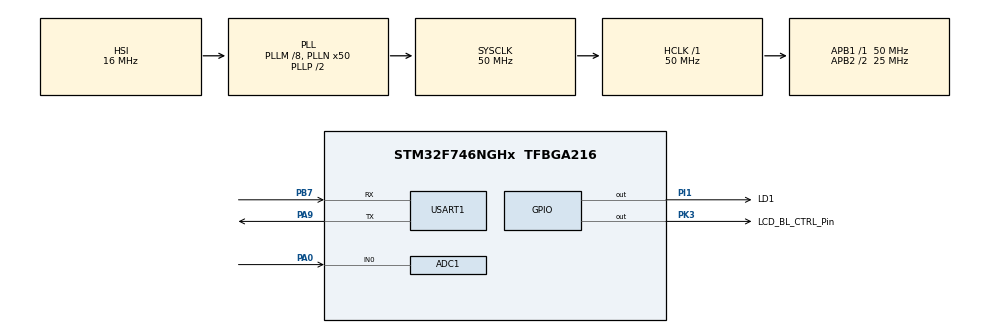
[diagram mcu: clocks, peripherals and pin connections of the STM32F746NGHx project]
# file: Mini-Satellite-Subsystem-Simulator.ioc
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ADC1.Channel-0\#ChannelRegularConversion=ADC_CHANNEL_0
ADC1.ClockPrescaler=ADC_CLOCK_SYNC_PCLK_DIV8
ADC1.NbrOfConversionFlag=1
ADC1.Rank-0\#ChannelRegularConversion=1
ADC1.SamplingTime-0\#ChannelRegularConversion=ADC_SAMPLETIME_15CYCLES
ADC1.master=1
Dma.ADC1.0.Direction=DMA_PERIPH_TO_MEMORY
Dma.ADC1.0.FIFOMode=DMA_FIFOMODE_DISABLE
Dma.ADC1.0.Instance=DMA2_Stream0
Dma.ADC1.0.MemDataAlignment=DMA_MDATAALIGN_HALFWORD
Dma.ADC1.0.MemInc=DMA_MINC_ENABLE
Dma.ADC1.0.Mode=DMA_CIRCULAR
Dma.ADC1.0.PeriphDataAlignment=DMA_PDATAALIGN_HALFWORD
Dma.ADC1.0.PeriphInc=DMA_PINC_DISABLE
Dma.ADC1.0.Priority=DMA_PRIORITY_LOW
Dma.Request0=ADC1
FREERTOS.BinarySemaphores01=adcSem,Dynamic,NULL,Available
FREERTOS.Tasks01=healthCheckTask,24,128,StartHealthCheckTask,Default,NULL,Dynamic,NULL,NULL;telemetryTask,24,128,StartTelemetryTask,Default,NULL,Dynamic,NULL,NULL;LinkMonitorTask,32,128,StartLinkMonitorTask,Default,NULL,Dynamic,NULL,NULL;sensorTask,32,128,StartSensorTask,Default,NULL,Dynamic,NULL,NULL
FREERTOS.configUSE_NEWLIB_REENTRANT=1
Mcu.Family=STM32F7
Mcu.Name=STM32F746NGHx
Mcu.Package=TFBGA216
NVIC.DMA2_Stream0_IRQn=true\:5\:0\:false\:false\:true\:true\:false\:true\:true
NVIC.PriorityGroup=NVIC_PRIORITYGROUP_4
NVIC.TIM6_DAC_IRQn=true\:15\:0\:false\:false\:true\:false\:false\:true\:true
NVIC.TimeBase=TIM6_DAC_IRQn
NVIC.TimeBaseIP=TIM6
NVIC.USART1_IRQn=true\:5\:0\:false\:false\:true\:true\:true\:true\:true
PA0/WKUP.Signal=ADCx_IN0
PA13.Mode=Serial_Wire
PA13.Signal=SYS_JTMS-SWDIO
PA14.Mode=Serial_Wire
PA14.Signal=SYS_JTCK-SWCLK
PA9.Mode=Asynchronous
PA9.Signal=USART1_TX
PB7.Mode=Asynchronous
PB7.Signal=USART1_RX
PI1.GPIO_Label=LD1
PI1.Signal=GPIO_Output
PK3.GPIO_Label=LCD_BL_CTRL_Pin
PK3.Signal=GPIO_Output
ProjectManager.HeapSize=0x200
ProjectManager.StackSize=0x400
ProjectManager.TargetToolchain=STM32CubeIDE
RCC.AHBFreq_Value=50000000
RCC.APB1Freq_Value=50000000
RCC.APB1TimFreq_Value=50000000
RCC.APB2CLKDivider=RCC_HCLK_DIV2
RCC.APB2Freq_Value=25000000
RCC.APB2TimFreq_Value=50000000
RCC.CortexFreq_Value=50000000
RCC.HCLKFreq_Value=50000000
RCC.HSE_VALUE=25000000
RCC.HSI_VALUE=16000000
RCC.LSE_VALUE=32768
RCC.PLLM=8
RCC.PLLN=50
RCC.PLLQ=3
RCC.PLLSourceVirtual=RCC_PLLSOURCE_HSI
RCC.SYSCLKFreq_VALUE=50000000
RCC.SYSCLKSource=RCC_SYSCLKSOURCE_PLLCLK
RCC.USBFreq_Value=33333333.333333332
RCC.VCOOutputFreq_Value=100000000
SH.ADCx_IN0.0=ADC1_IN0,IN0
USART1.VirtualMode-Asynchronous=VM_ASYNC
VP_FREERTOS_VS_CMSIS_V2.Mode=CMSIS_V2
VP_RNG_VS_RNG.Mode=RNG_Activate
VP_SYS_VS_tim6.Mode=TIM6
board=STM32F746G-DISCO

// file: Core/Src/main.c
/* USER CODE BEGIN Header */
/**
  ******************************************************************************
  * @file           : main.c
  * @brief          : Main program body
  ******************************************************************************
  * @attention
  *
  * Copyright (c) 2025 STMicroelectronics.
  * All rights reserved.
  *
  * This software is licensed under terms that can be found in the LICENSE file
  * in the root directory of this software component.
  * If no LICENSE file comes with this software, it is provided AS-IS.
  *
  ******************************************************************************
  */
/* USER CODE END Header */
#include "main.h"
#include "cmsis_os.h"

/* USER CODE BEGIN Includes */
#include <stdio.h>		// For sprintf message to be sent by USART1.
#include <string.h>		// For strlen, used in sending message by UART1.
#include <stdlib.h>
#include <time.h>	// For random number generator (RNG), to simulate Sensor data.
/* USER CODE END Includes */

ADC_HandleTypeDef hadc1;
DMA_HandleTypeDef hdma_adc1;

RNG_HandleTypeDef hrng;

UART_HandleTypeDef huart1;

/* Definitions for healthCheckTask */
osThreadId_t healthCheckTaskHandle;
const osThreadAttr_t healthCheckTask_attributes = {
  .name = "healthCheckTask",
  .stack_size = 128 * 4,
  .priority = (osPriority_t) osPriorityNormal,
};
/* Definitions for telemetryTask */
osThreadId_t telemetryTaskHandle;
const osThreadAttr_t telemetryTask_attributes = {
  .name = "telemetryTask",
  .stack_size = 128 * 4,
  .priority = (osPriority_t) osPriorityNormal,
};
/* Definitions for LinkMonitorTask */
osThreadId_t LinkMonitorTaskHandle;
const osThreadAttr_t LinkMonitorTask_attributes = {
  .name = "LinkMonitorTask",
  .stack_size = 128 * 4,
  .priority = (osPriority_t) osPriorityAboveNormal,
};
/* Definitions for sensorTask */
osThreadId_t sensorTaskHandle;
const osThreadAttr_t sensorTask_attributes = {
  .name = "sensorTask",
  .stack_size = 128 * 4,
  .priority = (osPriority_t) osPriorityAboveNormal,
};
/* Definitions for adcSem */
osSemaphoreId_t adcSemHandle;
const osSemaphoreAttr_t adcSem_attributes = {
  .name = "adcSem"
};
/* USER CODE BEGIN PV */

// Variables needed to receive messages from the USART1.
#define RX_BUFFER_SIZE 32
uint8_t rx_byte;
char command_buffer[RX_BUFFER_SIZE];
uint8_t cmd_index = 0;
// Variables related to the log.
#define LOG_BUFFER_SIZE 1024
char log_buffer[LOG_BUFFER_SIZE];
size_t log_index = 0;				//size_t is defined as uint32_t on STM32.
//Random Number Generator:
extern RNG_HandleTypeDef hrng;
// Link Strength Status
uint8_t rssi = 0;			//Strength of the satellite Uplink/Downlink in 0-100%. (Received Signal Strength Indicator)
/* Buffer to store ADC values */
uint16_t adc_value;
char uart_buffer[20];
/* USER CODE END PV */

void SystemClock_Config(void);
static void MX_GPIO_Init(void);
static void MX_DMA_Init(void);
static void MX_ADC1_Init(void);
static void MX_USART1_UART_Init(void);
static void MX_RNG_Init(void);
void StartHealthCheckTask(void *argument);
void StartTelemetryTask(void *argument);
void StartLinkMonitorTask(void *argument);
void StartSensorTask(void *argument);

/* USER CODE BEGIN PFP */
//void ReadSensor();
void TelemetryToGCS();
void log_message(const char* msg);
/* USER CODE END PFP */

int main(void)
{

  /* MCU Configuration--------------------------------------------------------*/

  /* Reset of all peripherals, Initializes the Flash interface and the Systick. */
  HAL_Init();

  /* Configure the system clock */
  SystemClock_Config();

  /* Initialize all configured peripherals */
  MX_GPIO_Init();
  MX_DMA_Init();
  MX_ADC1_Init();
  MX_USART1_UART_Init();
  MX_RNG_Init();
  /* USER CODE BEGIN 2 */
  HAL_UART_Receive_IT(&huart1, &rx_byte, 1);	// Call the callback func "HAL_UART_RxCpltCallback" when a message is received over USART1. This must be reset after message reception, if another message will be received.

  //Log message to indicate that satellite subsystem is ready.
  log_message("Device Ready.");
  /* Start ADC with DMA */
  HAL_ADC_Start_DMA(&hadc1, (uint32_t*)&adc_value, 1);
  // Send a welcome message to the GCS console.
  char welcomeMessage1[] = "\r\n--- Welcome to the Ground Control Station ---\r\n";
  HAL_UART_Transmit(&huart1, (uint8_t *)welcomeMessage1, strlen(welcomeMessage1), HAL_MAX_DELAY);
  char welcomeMessage2[] = "LED ON - LED OFF - DUMP LOG - STATUS\r\n";
  HAL_UART_Transmit(&huart1, (uint8_t *)welcomeMessage2, strlen(welcomeMessage2), HAL_MAX_DELAY);
  char welcomeMessage3[] = "Type a command below.\r\n";
  HAL_UART_Transmit(&huart1, (uint8_t *)welcomeMessage3, strlen(welcomeMessage3), HAL_MAX_DELAY);

  HAL_GPIO_WritePin(LD1_GPIO_Port, LD1_Pin, 0); 	//Make sure LED is off at the start.
  /* USER CODE END 2 */

  /* Init scheduler */
  osKernelInitialize();

  /* Create the semaphores(s) */
  /* creation of adcSem */
  adcSemHandle = osSemaphoreNew(1, 1, &adcSem_attributes);

  /* Create the thread(s) */
  /* creation of healthCheckTask */
  healthCheckTaskHandle = osThreadNew(StartHealthCheckTask, NULL, &healthCheckTask_attributes);

  /* creation of telemetryTask */
  telemetryTaskHandle = osThreadNew(StartTelemetryTask, NULL, &telemetryTask_attributes);

  /* creation of LinkMonitorTask */
  LinkMonitorTaskHandle = osThreadNew(StartLinkMonitorTask, NULL, &LinkMonitorTask_attributes);

  /* creation of sensorTask */
  sensorTaskHandle = osThreadNew(StartSensorTask, NULL, &sensorTask_attributes);

  /* Start scheduler */
  osKernelStart();

  /* We should never get here as control is now taken by the scheduler */

  /* Infinite loop */
  while (1)
  {

  }
}

void SystemClock_Config(void)
{
  RCC_OscInitTypeDef RCC_OscInitStruct = {0};
  RCC_ClkInitTypeDef RCC_ClkInitStruct = {0};

  /** Configure the main internal regulator output voltage
  */
  __HAL_RCC_PWR_CLK_ENABLE();
  __HAL_PWR_VOLTAGESCALING_CONFIG(PWR_REGULATOR_VOLTAGE_SCALE3);

  /** Initializes the RCC Oscillators according to the specified parameters
  * in the RCC_OscInitTypeDef structure.
  */
  RCC_OscInitStruct.OscillatorType = RCC_OSCILLATORTYPE_HSI;
  RCC_OscInitStruct.HSIState = RCC_HSI_ON;
  RCC_OscInitStruct.HSICalibrationValue = RCC_HSICALIBRATION_DEFAULT;
  RCC_OscInitStruct.PLL.PLLState = RCC_PLL_ON;
  RCC_OscInitStruct.PLL.PLLSource = RCC_PLLSOURCE_HSI;
  RCC_OscInitStruct.PLL.PLLM = 8;
  RCC_OscInitStruct.PLL.PLLN = 50;
  RCC_OscInitStruct.PLL.PLLP = RCC_PLLP_DIV2;
  RCC_OscInitStruct.PLL.PLLQ = 3;
  if (HAL_RCC_OscConfig(&RCC_OscInitStruct) != HAL_OK)
  {
    Error_Handler();
  }

  /** Activate the Over-Drive mode
  */
  if (HAL_PWREx_EnableOverDrive() != HAL_OK)
  {
    Error_Handler();
  }

  /** Initializes the CPU, AHB and APB buses clocks
  */
  RCC_ClkInitStruct.ClockType = RCC_CLOCKTYPE_HCLK|RCC_CLOCKTYPE_SYSCLK
                              |RCC_CLOCKTYPE_PCLK1|RCC_CLOCKTYPE_PCLK2;
  RCC_ClkInitStruct.SYSCLKSource = RCC_SYSCLKSOURCE_PLLCLK;
  RCC_ClkInitStruct.AHBCLKDivider = RCC_SYSCLK_DIV1;
  RCC_ClkInitStruct.APB1CLKDivider = RCC_HCLK_DIV1;
  RCC_ClkInitStruct.APB2CLKDivider = RCC_HCLK_DIV2;

  if (HAL_RCC_ClockConfig(&RCC_ClkInitStruct, FLASH_LATENCY_1) != HAL_OK)
  {
    Error_Handler();
  }
}

static void MX_ADC1_Init(void)
{

  ADC_ChannelConfTypeDef sConfig = {0};

  /** Configure the global features of the ADC (Clock, Resolution, Data Alignment and number of conversion)
  */
  hadc1.Instance = ADC1;
  hadc1.Init.ClockPrescaler = ADC_CLOCK_SYNC_PCLK_DIV8;
  hadc1.Init.Resolution = ADC_RESOLUTION_12B;
  hadc1.Init.ScanConvMode = ADC_SCAN_DISABLE;
  hadc1.Init.ContinuousConvMode = DISABLE;
  hadc1.Init.DiscontinuousConvMode = DISABLE;
  hadc1.Init.ExternalTrigConvEdge = ADC_EXTERNALTRIGCONVEDGE_NONE;
  hadc1.Init.ExternalTrigConv = ADC_SOFTWARE_START;
  hadc1.Init.DataAlign = ADC_DATAALIGN_RIGHT;
  hadc1.Init.NbrOfConversion = 1;
  hadc1.Init.DMAContinuousRequests = DISABLE;
  hadc1.Init.EOCSelection = ADC_EOC_SINGLE_CONV;
  if (HAL_ADC_Init(&hadc1) != HAL_OK)
  {
    Error_Handler();
  }

  /** Configure for the selected ADC regular channel its corresponding rank in the sequencer and its sample time.
  */
  sConfig.Channel = ADC_CHANNEL_0;
  sConfig.Rank = ADC_REGULAR_RANK_1;
  sConfig.SamplingTime = ADC_SAMPLETIME_15CYCLES;
  if (HAL_ADC_ConfigChannel(&hadc1, &sConfig) != HAL_OK)
  {
    Error_Handler();
  }

}

static void MX_RNG_Init(void)
{

  hrng.Instance = RNG;
  if (HAL_RNG_Init(&hrng) != HAL_OK)
  {
    Error_Handler();
  }

}

static void MX_USART1_UART_Init(void)
{

  huart1.Instance = USART1;
  huart1.Init.BaudRate = 115200;
  huart1.Init.WordLength = UART_WORDLENGTH_8B;
  huart1.Init.StopBits = UART_STOPBITS_1;
  huart1.Init.Parity = UART_PARITY_NONE;
  huart1.Init.Mode = UART_MODE_TX_RX;
  huart1.Init.HwFlowCtl = UART_HWCONTROL_NONE;
  huart1.Init.OverSampling = UART_OVERSAMPLING_16;
  huart1.Init.OneBitSampling = UART_ONE_BIT_SAMPLE_DISABLE;
  huart1.AdvancedInit.AdvFeatureInit = UART_ADVFEATURE_NO_INIT;
  if (HAL_UART_Init(&huart1) != HAL_OK)
  {
    Error_Handler();
  }

}

static void MX_DMA_Init(void)
{

  /* DMA controller clock enable */
  __HAL_RCC_DMA2_CLK_ENABLE();

  /* DMA interrupt init */
  /* DMA2_Stream0_IRQn interrupt configuration */
  HAL_NVIC_SetPriority(DMA2_Stream0_IRQn, 5, 0);
  HAL_NVIC_EnableIRQ(DMA2_Stream0_IRQn);

}

static void MX_GPIO_Init(void)
{
  GPIO_InitTypeDef GPIO_InitStruct = {0};

  /* GPIO Ports Clock Enable */
  __HAL_RCC_GPIOA_CLK_ENABLE();
  __HAL_RCC_GPIOB_CLK_ENABLE();
  __HAL_RCC_GPIOK_CLK_ENABLE();
  __HAL_RCC_GPIOI_CLK_ENABLE();

  /*Configure GPIO pin Output Level */
  HAL_GPIO_WritePin(LCD_BL_CTRL_Pin_GPIO_Port, LCD_BL_CTRL_Pin_Pin, GPIO_PIN_RESET);

  /*Configure GPIO pin Output Level */
  HAL_GPIO_WritePin(LD1_GPIO_Port, LD1_Pin, GPIO_PIN_RESET);

  /*Configure GPIO pin : LCD_BL_CTRL_Pin_Pin */
  GPIO_InitStruct.Pin = LCD_BL_CTRL_Pin_Pin;
  GPIO_InitStruct.Mode = GPIO_MODE_OUTPUT_PP;
  GPIO_InitStruct.Pull = GPIO_NOPULL;
  GPIO_InitStruct.Speed = GPIO_SPEED_FREQ_LOW;
  HAL_GPIO_Init(LCD_BL_CTRL_Pin_GPIO_Port, &GPIO_InitStruct);

  /*Configure GPIO pin : LD1_Pin */
  GPIO_InitStruct.Pin = LD1_Pin;
  GPIO_InitStruct.Mode = GPIO_MODE_OUTPUT_PP;
  GPIO_InitStruct.Pull = GPIO_NOPULL;
  GPIO_InitStruct.Speed = GPIO_SPEED_FREQ_LOW;
  HAL_GPIO_Init(LD1_GPIO_Port, &GPIO_InitStruct);

}

/* USER CODE BEGIN 4 */

// Logger
void log_message(const char* msg) {

	// Remove any \n or \r from end of the input message. This help with proper formatting at the GCS.
    char clean_msg[100];
    strncpy(clean_msg, msg, sizeof(clean_msg) - 1);	// Create a local copy of the message
    clean_msg[sizeof(clean_msg) - 1] = '\0';

    // Strip trailing newline or carriage return
    size_t clean_len = strlen(clean_msg);
    while (clean_len > 0 && (clean_msg[clean_len - 1] == '\n' || clean_msg[clean_len - 1] == '\r')) {
        clean_msg[--clean_len] = '\0';
    }

	char log_entry[128];

	// Get time since last reboot.
	uint32_t ms = HAL_GetTick();
	uint32_t sec = ms / 1000;
	uint32_t h = sec / 3600;
	uint32_t m = (sec % 3600) / 60;
	uint32_t s = sec % 60;

	snprintf(log_entry, sizeof(log_entry), "[%02lu:%02lu:%02lu] %s\r\n", h, m, s, clean_msg);

	size_t entry_len = strlen(log_entry);
    if (log_index + entry_len < LOG_BUFFER_SIZE) {		// Prevent buffer overflow.
        strcpy(&log_buffer[log_index], log_entry);
        log_index += entry_len;
    }
}

// Send a message to the Ground Control Station (GCS), by USART1.
void TelemetryToGCS()
{
	char msg[128]={0};																								// Message string, to be sent over USART1/Serial/USB to Ground Control Station. Initialized to 0, to prevent garbage text.
	uint32_t uptime = HAL_GetTick();  // milliseconds since boot

	// Send message
	snprintf(msg, sizeof(msg), "STATUS: | Uptime: %7lu ms | Sensor: %3d | Link: %3d\r\n", uptime,adc_value,rssi);	// Populate msg string with text and values. Use snprintf to prevent buffer overflow.
	HAL_UART_Transmit(&huart1, (uint8_t *)msg, strlen(msg), HAL_MAX_DELAY);											// Send the message string out through USART1 / USB.
	//log_message(msg);
}

// Invoke this function when data is received from USART1 and it's interrupt is triggered.
// This is the data received from the Ground Control Station
void HAL_UART_RxCpltCallback(UART_HandleTypeDef *huart)		// Copied from "stm32f7xx_hal_uart.c".
{
	if (huart->Instance == USART1) {
		HAL_UART_Transmit(&huart1, &rx_byte, 1, HAL_MAX_DELAY);	// Echo the received character
	    if (rx_byte == '\r' || rx_byte == '\n') {
	    	command_buffer[cmd_index] = '\0';  // Null-terminate
	    	// Respond and act on command.
	    	// Use IF here instead of SWITCH, since CASE can't be used with strings ("case "LED ON":" will give error).
	    	if (strcmp(command_buffer, "LED ON") == 0) {
	    		HAL_GPIO_WritePin(LD1_GPIO_Port, LD1_Pin, GPIO_PIN_SET);  // Turn LED on
	            char message[] = "LED turned ON";
	            char response[64];
	            snprintf(response, sizeof(response), "\r\n%s\r\n", message);
	    		HAL_UART_Transmit(&huart1, (uint8_t *)response, strlen(response), HAL_MAX_DELAY);
	    		log_message(message);
	    	}
	    	else if (strcmp(command_buffer, "LED OFF") == 0) {
	            HAL_GPIO_WritePin(LD1_GPIO_Port, LD1_Pin, GPIO_PIN_RESET);  // Turn LED off
	            char message[] = "LED turned OFF";
	            char response[64];
	            snprintf(response, sizeof(response), "\r\n%s\r\n", message);
                HAL_UART_Transmit(&huart1, (uint8_t *)response, strlen(response), HAL_MAX_DELAY);
                log_message(message);
	        }
	    	else if (strcmp(command_buffer, "STATUS") == 0) {
		    	TelemetryToGCS();			// Send Status to the Ground Control Station (GCS).
	        }
	    	else if (strcmp(command_buffer, "DUMP LOG") == 0) {
                char response[] = "\r\nLOG DUMP:\r\n";
                HAL_UART_Transmit(&huart1, (uint8_t *)response, strlen(response), HAL_MAX_DELAY);
	    		HAL_UART_Transmit(&huart1, (uint8_t*)log_buffer, log_index, HAL_MAX_DELAY);
	    		char response2[] = "\r\nLOG DUMP complete\r\n";
	    		HAL_UART_Transmit(&huart1, (uint8_t *)response2, strlen(response2), HAL_MAX_DELAY);
	        }
	    	else {
                char response[] = "\r\nUnknown command\r\n";
                HAL_UART_Transmit(&huart1, (uint8_t *)response, strlen(response), HAL_MAX_DELAY);
	    	}

	    	cmd_index = 0;  // Reset for next command
	    }

	    else {
	    	if (cmd_index < RX_BUFFER_SIZE - 1) {
	    		command_buffer[cmd_index++] = rx_byte;
	        }
	    }
	    HAL_UART_Receive_IT(&huart1, &rx_byte, 1);  // Re-enable interrupt
	}
}

/* USER CODE END 4 */

/* USER CODE BEGIN Header_StartHealthCheckTask */
/**
  * @brief  Function implementing the healthCheckTask thread.
  * Blink the on-board LED briefly, every 2 seconds, to show 'Heart beat'. This should be sent via telemetry.
  * @param  argument: Not used
  * @retval None
  */
/* USER CODE END Header_StartHealthCheckTask */
void StartHealthCheckTask(void *argument)
{
  /* USER CODE BEGIN 5 */
  /* Infinite loop */
  for(;;)
  {
	  HAL_GPIO_WritePin(LD1_GPIO_Port, LD1_Pin, 1);
	  osDelay(250);			// Delay, in Ticks. 1 Tick ~ 1ms.
	  HAL_GPIO_WritePin(LD1_GPIO_Port, LD1_Pin, 0);
	  osDelay(2000);		// Delay, in Ticks.
  }
  /* USER CODE END 5 */
}

/* USER CODE BEGIN Header_StartTelemetryTask */
/**
* @brief Function implementing the telemetryTask thread. Send data to the GCS peridically.
* @param argument: Not used
* @retval None
*/
/* USER CODE END Header_StartTelemetryTask */
void StartTelemetryTask(void *argument)
{
  /* USER CODE BEGIN StartTelemetryTask */
  /* Infinite loop */
  for(;;)
  {
	  TelemetryToGCS();
	  osDelay(3000);	// Send telemetry data to GCS every 3 seconds
  }
  /* USER CODE END StartTelemetryTask */
}

void StartLinkMonitorTask(void *argument)
{
  /* USER CODE BEGIN StartLinkMonitorTask */
  /* Infinite loop */
  for(;;)
  {
	  rssi = rand() % 100;  // 0 to 99
	  char msg[64];

	  if (rssi < 20) {
		  snprintf(msg, sizeof(msg), "LINK: LOST (RSSI: %d)\r\n", rssi);
		  HAL_UART_Transmit(&huart1, (uint8_t*)msg, strlen(msg), HAL_MAX_DELAY);
	  }

	  osDelay(1000);	//Check link every 1 seconds
  }
  /* USER CODE END StartLinkMonitorTask */
}

void StartSensorTask(void *argument)
{
  /* USER CODE BEGIN StartSensorTask */
  /* Infinite loop */
  for(;;)
  {
	  // ---- Random number version
	  // Generate a random number, that is used to simulate the sensor value. Between 1 and 100. Use STM32F7's hardware RNG.
	  // This is used instead of ADC conversion to generate a value for the Sensor.
	  uint32_t value;
	  HAL_RNG_GenerateRandomNumber(&hrng, &value);
	  //int sensorValue = (value % 100) + 1;
	  adc_value = (value % 100) + 1;
    osDelay(1000);
  }
  /* USER CODE END StartSensorTask */
}

void HAL_TIM_PeriodElapsedCallback(TIM_HandleTypeDef *htim)
{
  if (htim->Instance == TIM6)
  {
    HAL_IncTick();
  }
}

void Error_Handler(void)
{
  __disable_irq();
  while (1)
  {
  }
}
